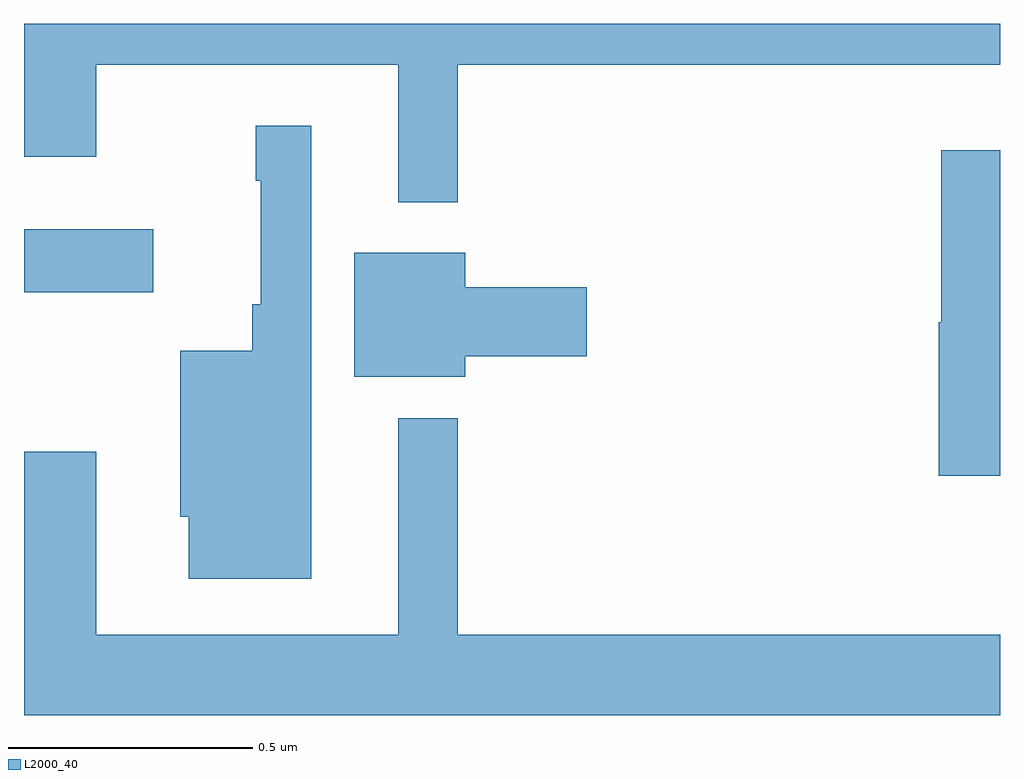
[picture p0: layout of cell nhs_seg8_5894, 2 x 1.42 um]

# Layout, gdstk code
import gdstk
lib = gdstk.Library(unit=1e-6, precision=1e-09)
def R(c, l, rs):  # rectangles x0, y0, x1, y1
    for r in rs: c.add(gdstk.rectangle(r[:2], r[2:], *l))
def P(c, l, *ps):  # polygons
    for p in ps: c.add(gdstk.Polygon(p, *l))
L2000_40 = (2000, 40)

nhs_seg8_5894 = lib.new_cell('nhs_seg8_5894')
R(nhs_seg8_5894, L2000_40, [(189,1133.35,189.265,1133.479)])
P(nhs_seg8_5894, L2000_40, [(189.889,1133.816),(191,1133.816),(191,1133.9),(189,1133.9),(189,1133.628),(189.148,1133.628),(189.148,1133.816),(189.767,1133.816),(189.767,1133.535),(189.889,1133.535)],
  [(189.589,1133.692),(189.475,1133.692),(189.475,1133.579),(189.485,1133.579),(189.485,1133.326),(189.468,1133.326),(189.468,1133.23),(189.32,1133.23),(189.32,1132.89),(189.338,1132.89),(189.338,1132.763),(189.589,1132.763)],
  [(191,1133.641),(190.88,1133.641),(190.88,1133.289),(190.874,1133.289),(190.874,1132.974),(191,1132.974)],
  [(189.904,1133.219),(190.153,1133.219),(190.153,1133.361),(189.904,1133.361),(189.904,1133.431),(189.677,1133.431),(189.677,1133.177),(189.904,1133.177)],
  [(191,1132.648),(189.889,1132.648),(189.889,1133.092),(189.767,1133.092),(189.767,1132.648),(189.148,1132.648),(189.148,1133.023),(189,1133.023),(189,1132.484),(191,1132.484)])

lib.write_gds('nhs_seg8_5894.gds')
